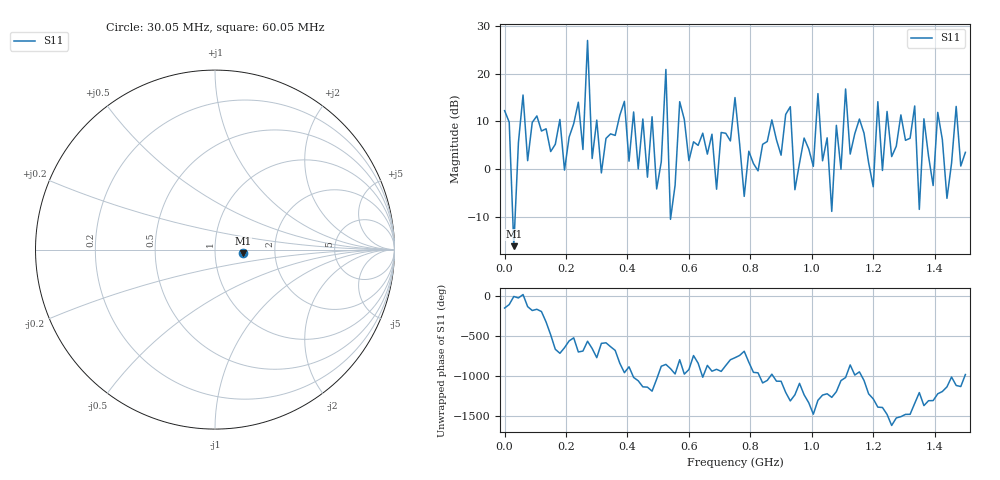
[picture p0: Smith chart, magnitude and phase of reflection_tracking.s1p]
! Created with skrf 1.8.0 (http://scikit-rf.org).
# Hz S RI R 50.0
!freq ReS11 ImS11
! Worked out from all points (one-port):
!   101 points, 50 kHz to 1.5 GHz, reference 50 ohm
!   lowest |S11| = -16.2 dB at 30.05 MHz (marker M1), VSWR 1.37, Z = 68.2 - j2.66 ohm
!   |S11| at or under -10 dB: 26.49 MHz to 34.3 MHz (7.805 MHz wide, 25.7 % of centre); 539.7751 MHz to 541.161 MHz (1.386 MHz wide, 0.256 % of centre)
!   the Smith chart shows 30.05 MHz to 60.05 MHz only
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50000  -3.586 -1.956
3.0049e7  0.1545 -0.019
6.0048e7  5.694 1.748
9.0047e7  -3.076 0.1133
1.950435e8  0.2703 0.9377
2.550415e8  1.355 0.8554
2.70041e8  -20.1 9.42
2.850405e8  0.5691 1.157
3.750375e8  -1.826 -3.16
3.90037e8  -2.728 4.324
4.20036e8  1.789 3.529
5.10033e8  -1.099 -0.4601
5.250325e8  -7.719 -7.886
5.40032e8  -0.295 0.0364
5.70031e8  1.238 -4.917
5.850305e8  -0.8264 3.197
7.50025e8  3.56 -4.324
8.70021e8  -0.7747 3.176
9.450185e8  -0.5439 -0.2703
1.020016e9  -4.603 4.097
1.080014e9  -1.173 -2.615
1.110013e9  3.213 6.097
1.125012e9  -1.109 -0.9108
1.21501e9  3.079 4.031
1.320006e9  1.681 -1.256
1.335006e9  -0.7361 4.513
1.410003e9  -3.041 -2.469
1.5e9  -0.2468 1.475
